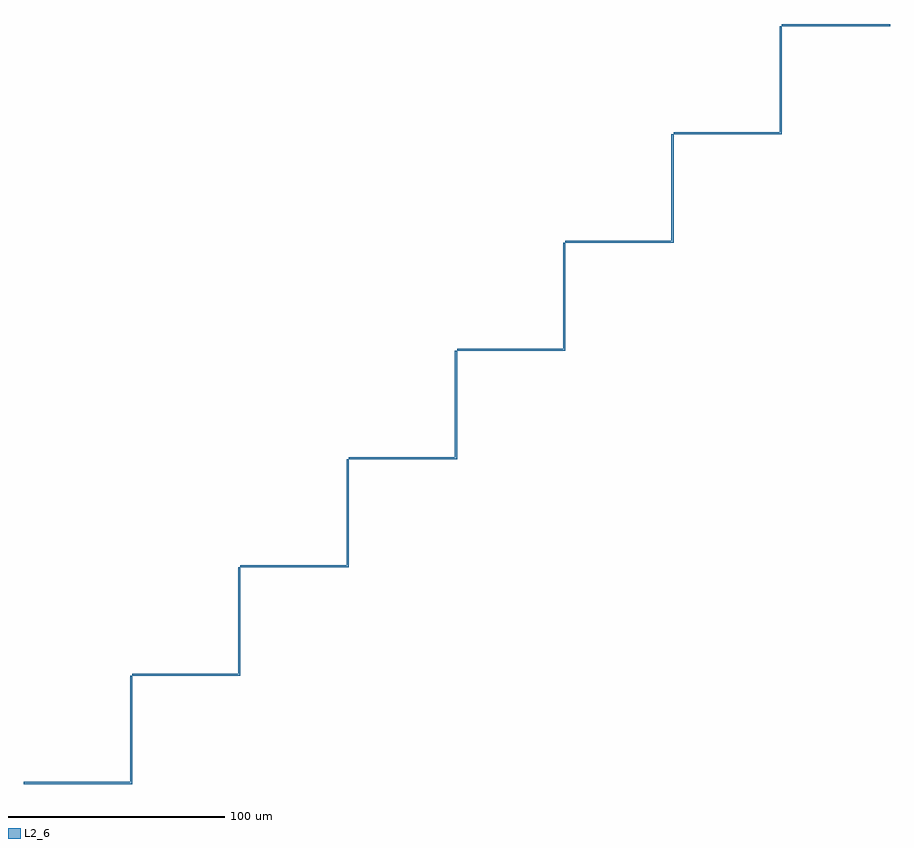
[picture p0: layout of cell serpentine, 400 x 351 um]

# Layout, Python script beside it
import gdspy

# Define the library and cell
lib = gdspy.GdsLibrary()
cell = lib.new_cell('serpentine')

# Define the path width, number of turns, segment length, and layer/datatype
path_width = 1  # in µm
num_turns = 15
segment_length = 50  # in µm
layer = 2
datatype = 6

# Initialize the current position
x, y = 0, 0

# Generate the serpentine pattern
for i in range(num_turns):
    if i % 2 == 0:  # horizontal segments
        cell.add(gdspy.Rectangle((x, y), (x + segment_length, y + path_width), layer=layer, datatype=datatype))
        x += segment_length
    else:  # vertical segments
        cell.add(gdspy.Rectangle((x - path_width, y), (x, y + segment_length), layer=layer, datatype=datatype))
        y += segment_length

# Save the design to a GDS file
lib.write_gds('serpentine.gds')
